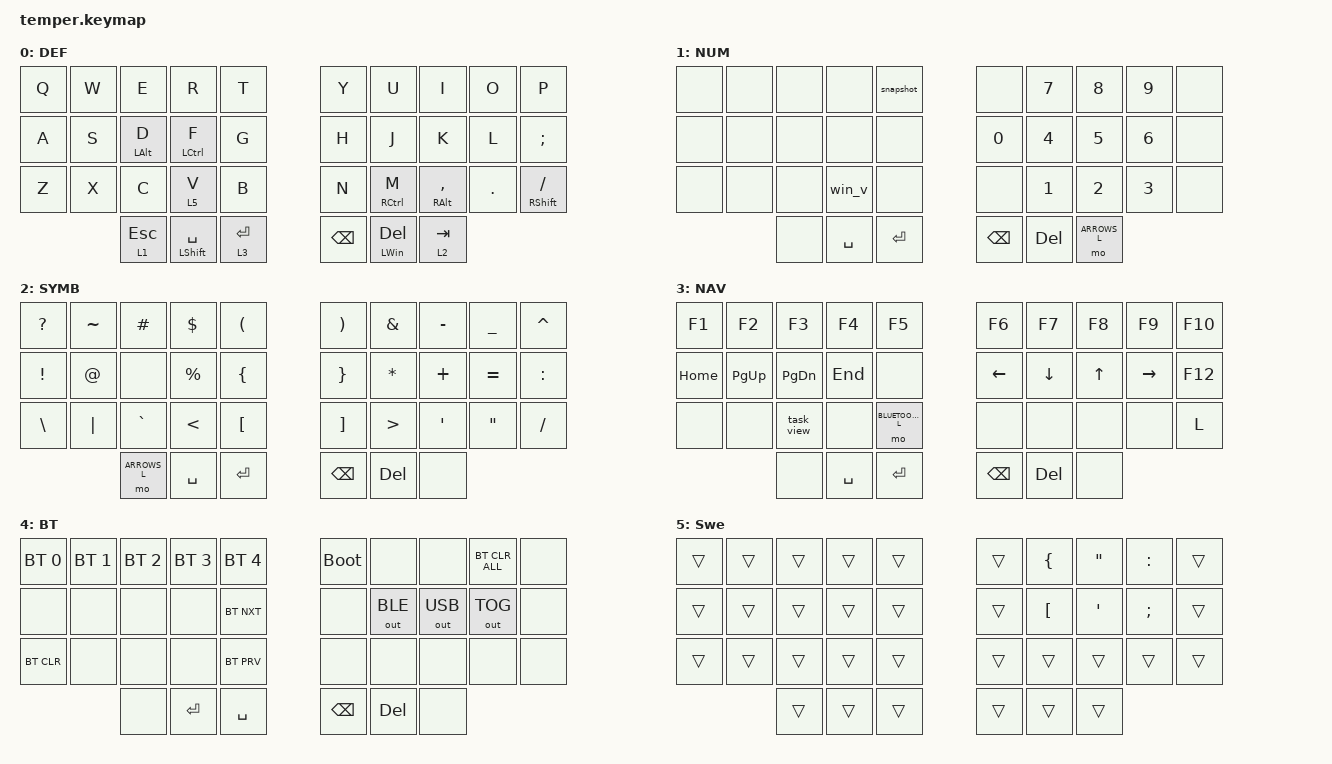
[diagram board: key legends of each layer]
/*
 * Copyright (c) 2020 The ZMK Contributors
 *
 * SPDX-License-Identifier: MIT
 */

#include <behaviors.dtsi>
#include <dt-bindings/zmk/bt.h>
#include <dt-bindings/zmk/keys.h>
#include <dt-bindings/zmk/outputs.h>

#define DEFAULT_L 0
#define NUMBERS_L 1
#define SYMBOLS_L 2
#define ARROWS_L  3
#define BLUETOOTH_L  4

/ {
    snapshot: snapshot {
        label = "Win_Shift_S";
        compatible = "zmk,behavior-macro";
        #binding-cells = <0>;
        bindings =
            <&macro_press>,
            <&kp LGUI &kp LSHFT>,
            <&macro_tap>,
            <&kp S>,
            <&macro_release>,
            <&kp LGUI &kp LSHFT>;
    };

    task_view: task_view {
        label = "Task_View";
        compatible = "zmk,behavior-macro";
        #binding-cells = <0>;
        bindings =
            <&macro_press>,
            <&kp LGUI>,
            <&macro_tap>,
            <&kp TAB>,
            <&macro_release>,
            <&kp LGUI>;
    };

    win_v: win_v {
        label = "Win_V";
        compatible = "zmk,behavior-macro";
        #binding-cells = <0>;
        bindings =
            <&macro_press>,
            <&kp LGUI>,
            <&macro_tap>,
            <&kp V>,
            <&macro_release>,
            <&kp LGUI>;
    };

    behaviors {
        hold_mo: hold_mo {
            compatible = "zmk,behavior-hold-tap";
            label = "HOLD_MO";
            bindings = <&mo>, <&kp>;

            #binding-cells = <2>;
            tapping-term-ms = <200>;
            flavor = "balanced";
        };

        hold_kp: hold_kp {
            compatible = "zmk,behavior-hold-tap";
            label = "HOLD_KP";
            bindings = <&kp>, <&kp>;

            #binding-cells = <2>;
            tapping-term-ms = <200>;
        };

        hrmL: hrmL {
            compatible = "zmk,behavior-hold-tap";
            label = "HRML";
            bindings = <&kp>, <&kp>;

            #binding-cells = <2>;
            tapping-term-ms = <280>;
            quick-tap-ms = <177>;
            require-prior-idle-ms = <150>;
            flavor = "balanced";
            hold-trigger-on-release;
            hold-trigger-key-positions = <6 7 8 9 10 11 23 22 33 21 20 19 18 30 31 32 34 35 41 40 39>;
        };

        hmrR: hmrR {
            compatible = "zmk,behavior-hold-tap";
            label = "HMRR";
            bindings = <&kp>, <&kp>;

            #binding-cells = <2>;
            tapping-term-ms = <280>;
            quick-tap-ms = <177>;
            require-prior-idle-ms = <150>;
            flavor = "balanced";
            hold-trigger-on-release;
            hold-trigger-key-positions = <0 1 2 3 4 5 17 16 15 14 13 12 24 25 26 27 28 29 36 37 38>;
        };
    };

    keymap {
        compatible = "zmk,keymap";

        default_layer {
            label = "DEF";
            bindings = <
                &kp Q  &kp W  &kp E              &kp R              &kp T               &kp Y          &kp U           &kp I                  &kp O    &kp P
                &kp A  &kp S  &hrmL LEFT_ALT D   &hrmL LCTRL F      &kp G               &kp H          &kp J           &kp K                  &kp L    &kp SEMI
                &kp Z  &kp X  &kp C              &hold_mo 5 V       &kp B               &kp N          &hmrR RCTRL M   &hmrR RIGHT_ALT COMMA  &kp DOT  &hmrR RIGHT_SHIFT FSLH
                &hold_mo 1 ESCAPE  &hrmL LEFT_SHIFT SPACE  &hold_mo 3 ENTER             &kp BACKSPACE  &hmrR LWIN DEL  &hold_mo 2 TAB
            >;
        };

        number_layer {
            label = "NUM";
            bindings = <
                &none  &none  &none  &none      &snapshot       &none          &kp NUMBER_7  &kp NUMBER_8  &kp NUMBER_9  &none
                &none  &none  &none  &none      &none           &kp NUMBER_0   &kp NUMBER_4  &kp NUMBER_5  &kp NUMBER_6  &none
                &none  &none  &none  &win_v     &none           &none          &kp NUMBER_1  &kp NUMBER_2  &kp NUMBER_3  &none
                             &none  &kp SPACE  &kp RETURN       &kp BACKSPACE  &kp DEL       &mo ARROWS_L
            >;
        };

        symbols_layer {
            label = "SYMB";
            bindings = <
                &kp QUESTION     &kp TILDE    &kp HASH      &kp DOLLAR   &kp LEFT_PARENTHESIS    &kp RIGHT_PARENTHESIS  &kp AMPERSAND  &kp MINUS  &kp UNDERSCORE     &kp CARET
                &kp EXCLAMATION  &kp AT_SIGN  &none         &kp PERCENT  &kp LEFT_BRACE          &kp RIGHT_BRACE        &kp ASTERISK   &kp PLUS   &kp EQUAL          &kp COLON
                &kp BACKSLASH    &kp PIPE     &kp GRAVE     &kp LT       &kp LEFT_BRACKET        &kp RIGHT_BRACKET      &kp GT         &kp SQT    &kp DOUBLE_QUOTES  &kp SLASH
                                                    &mo ARROWS_L  &kp SPACE    &kp RETURN        &kp BACKSPACE          &kp DEL        &none
            >;
        };

        arrows_layer {
            label = "NAV";
            bindings = <
                &kp F1    &kp F2       &kp F3         &kp F4     &kp F5                 &kp F6         &kp F7    &kp F8  &kp F9     &kp F10
                &kp HOME  &kp PAGE_UP  &kp PAGE_DOWN  &kp END    &none                  &kp LEFT       &kp DOWN  &kp UP  &kp RIGHT  &kp F12
                &none     &none        &task_view     &none      &mo BLUETOOTH_L        &none          &none     &none   &none      &kp L
                                                    &none   &kp SPACE  &kp RETURN       &kp BACKSPACE  &kp DEL   &none
            >;
        };
            bluetooth_layer {
            label = "BT";
            bindings = <
                &bt BT_SEL 0  &bt BT_SEL 1  &bt BT_SEL 2  &bt BT_SEL 3  &bt BT_SEL 4        &bootloader    &none         &none         &bt BT_CLR_ALL  &none
                &none         &none         &none         &none         &bt BT_NXT          &none          &out OUT_BLE  &out OUT_USB  &out OUT_TOG    &none
                &bt BT_CLR    &none         &none         &none         &bt BT_PRV          &none          &none         &none         &none           &none
                                                    &none   &kp RETURN    &kp SPACE         &kp BACKSPACE  &kp DEL       &none
            >;
        };

        Swe {
            bindings = <
                &trans  &trans  &trans  &trans  &trans              &trans  &kp LEFT_BRACE    &kp DOUBLE_QUOTES  &kp COLON  &trans
                &trans  &trans  &trans  &trans  &trans              &trans  &kp LEFT_BRACKET  &kp SINGLE_QUOTE   &kp SEMI   &trans
                &trans  &trans  &trans  &trans  &trans              &trans  &trans            &trans             &trans     &trans
                                &trans  &trans  &trans              &trans  &trans            &trans
            >;
        };
    };
};

